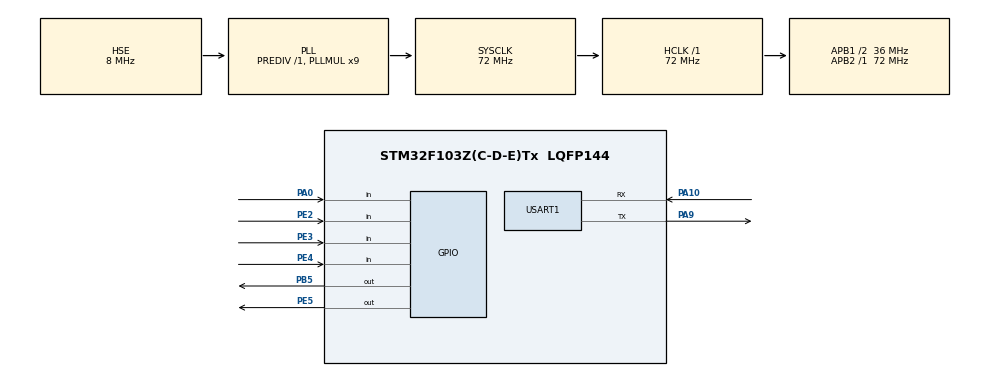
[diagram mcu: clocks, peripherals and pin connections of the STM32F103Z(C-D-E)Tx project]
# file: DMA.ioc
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Mcu.Family=STM32F1
Mcu.Name=STM32F103Z(C-D-E)Tx
Mcu.Package=LQFP144
NVIC.PriorityGroup=NVIC_PRIORITYGROUP_2
NVIC.USART1_IRQn=true\:1\:0\:true\:false\:true\:true\:true
OSC_IN.Mode=HSE-External-Oscillator
OSC_IN.Signal=RCC_OSC_IN
OSC_OUT.Mode=HSE-External-Oscillator
OSC_OUT.Signal=RCC_OSC_OUT
PA0-WKUP.GPIO_PuPd=GPIO_PULLDOWN
PA0-WKUP.Signal=GPIO_Input
PA10.Mode=Asynchronous
PA10.Signal=USART1_RX
PA13.Mode=JTAG_4_pins
PA13.Signal=SYS_JTMS-SWDIO
PA14.Mode=JTAG_4_pins
PA14.Signal=SYS_JTCK-SWCLK
PA15.Mode=JTAG_4_pins
PA15.Signal=SYS_JTDI
PA9.Mode=Asynchronous
PA9.Signal=USART1_TX
PB3.Mode=JTAG_4_pins
PB3.Signal=SYS_JTDO-TRACESWO
PB5.GPIO_PuPd=GPIO_PULLUP
PB5.GPIO_Speed=GPIO_SPEED_FREQ_MEDIUM
PB5.PinState=GPIO_PIN_SET
PB5.Signal=GPIO_Output
PE2.GPIO_PuPd=GPIO_PULLUP
PE2.Signal=GPIO_Input
PE3.GPIO_PuPd=GPIO_PULLUP
PE3.Signal=GPIO_Input
PE4.GPIO_PuPd=GPIO_PULLUP
PE4.Signal=GPIO_Input
PE5.GPIO_PuPd=GPIO_PULLUP
PE5.GPIO_Speed=GPIO_SPEED_FREQ_MEDIUM
PE5.PinState=GPIO_PIN_SET
PE5.Signal=GPIO_Output
ProjectManager.HeapSize=0x200
ProjectManager.StackSize=0x400
ProjectManager.TargetToolchain=MDK-ARM V5.27
RCC.AHBFreq_Value=72000000
RCC.APB1CLKDivider=RCC_HCLK_DIV2
RCC.APB1Freq_Value=36000000
RCC.APB1TimFreq_Value=72000000
RCC.APB2Freq_Value=72000000
RCC.APB2TimFreq_Value=72000000
RCC.HCLKFreq_Value=72000000
RCC.PLLMUL=RCC_PLL_MUL9
RCC.PLLSourceVirtual=RCC_PLLSOURCE_HSE
RCC.SYSCLKFreq_VALUE=72000000
RCC.SYSCLKSource=RCC_SYSCLKSOURCE_PLLCLK
RCC.USBFreq_Value=72000000
USART1.VirtualMode=VM_ASYNC
board=custom

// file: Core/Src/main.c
/* USER CODE BEGIN Header */
/**
  ******************************************************************************
  * @file           : main.c
  * @brief          : Main program body
  ******************************************************************************
  * @attention
  *
  * <h2><center>&copy; Copyright (c) 2021 STMicroelectronics.
  * All rights reserved.</center></h2>
  *
  * This software component is licensed by ST under BSD 3-Clause license,
  * the "License"; You may not use this file except in compliance with the
  * License. You may obtain a copy of the License at:
  *                        opensource.org/licenses/BSD-3-Clause
  *
  ******************************************************************************
  */
/* USER CODE END Header */
#include "main.h"
#include "usart.h"
#include "gpio.h"

void SystemClock_Config(void);

int main(void)
{

  /* MCU Configuration--------------------------------------------------------*/

  /* Reset of all peripherals, Initializes the Flash interface and the Systick. */
  HAL_Init();

  /* USER CODE BEGIN Init */
	int i=0;
	int len;
	uint8_t read_data = 0;
	uint8_t data_len = 0;
  /* USER CODE END Init */

  /* Configure the system clock */
  SystemClock_Config();

  /* Initialize all configured peripherals */
  MX_GPIO_Init();
  MX_USART1_UART_Init();
  /* USER CODE BEGIN 2 */
	kifo_buffer=kfifo_alloc(256);
	if( !kifo_buffer )
				printf("KFIFO 结构体 test_kifo_buffer 没有创建成功！\r\n");

	HAL_UART_Receive_IT(&huart1, (uint8_t*)&recv_data, sizeof(recv_data));
  /* USER CODE END 2 */

  /* Infinite loop */
  while (1)
  {

    /* USER CODE BEGIN 3 */
//		//这种直接获取帧头会存在数据丢弃的情况，比如上一次获取时处理了数据帧的3F，剩余数据在下一次被获取出来时，通过丢弃数据的方式重新找新帧头，原来的那帧数据就会被丢失
		while((len = kfifo_get(kifo_buffer, (uint8_t*)&read_data, sizeof(read_data))) > 0)
		{
			/* 捕获起始标志 */
			if(read_data == 0x3F)
			{
				printf("your data: length=");
				//读取数据字节数，最大支持0xFF
				if((len = kfifo_get(kifo_buffer, (uint8_t*)&read_data, sizeof(read_data))) > 0)
				{
					data_len = read_data;
					printf("%03d,data=",data_len);
				}

				//提取data_len个数据
				for(i = 0; i < data_len; i++)
				{
					if((len = kfifo_get(kifo_buffer, (uint8_t*)&read_data, sizeof(read_data))) > 0)
					{
						printf("[0x%02x] ", read_data);
					}
				}
			}
		}

		HAL_Delay(200);
  }
  /* USER CODE END 3 */
}

void SystemClock_Config(void)
{
  RCC_OscInitTypeDef RCC_OscInitStruct = {0};
  RCC_ClkInitTypeDef RCC_ClkInitStruct = {0};

  /** Initializes the RCC Oscillators according to the specified parameters
  * in the RCC_OscInitTypeDef structure.
  */
  RCC_OscInitStruct.OscillatorType = RCC_OSCILLATORTYPE_HSE;
  RCC_OscInitStruct.HSEState = RCC_HSE_ON;
  RCC_OscInitStruct.HSEPredivValue = RCC_HSE_PREDIV_DIV1;
  RCC_OscInitStruct.HSIState = RCC_HSI_ON;
  RCC_OscInitStruct.PLL.PLLState = RCC_PLL_ON;
  RCC_OscInitStruct.PLL.PLLSource = RCC_PLLSOURCE_HSE;
  RCC_OscInitStruct.PLL.PLLMUL = RCC_PLL_MUL9;
  if (HAL_RCC_OscConfig(&RCC_OscInitStruct) != HAL_OK)
  {
    Error_Handler();
  }
  /** Initializes the CPU, AHB and APB buses clocks
  */
  RCC_ClkInitStruct.ClockType = RCC_CLOCKTYPE_HCLK|RCC_CLOCKTYPE_SYSCLK
                              |RCC_CLOCKTYPE_PCLK1|RCC_CLOCKTYPE_PCLK2;
  RCC_ClkInitStruct.SYSCLKSource = RCC_SYSCLKSOURCE_PLLCLK;
  RCC_ClkInitStruct.AHBCLKDivider = RCC_SYSCLK_DIV1;
  RCC_ClkInitStruct.APB1CLKDivider = RCC_HCLK_DIV2;
  RCC_ClkInitStruct.APB2CLKDivider = RCC_HCLK_DIV1;

  if (HAL_RCC_ClockConfig(&RCC_ClkInitStruct, FLASH_LATENCY_2) != HAL_OK)
  {
    Error_Handler();
  }
}

void Error_Handler(void)
{
  __disable_irq();
  while (1)
  {
  }
}

/************************ (C) COPYRIGHT STMicroelectronics *****END OF FILE****/
